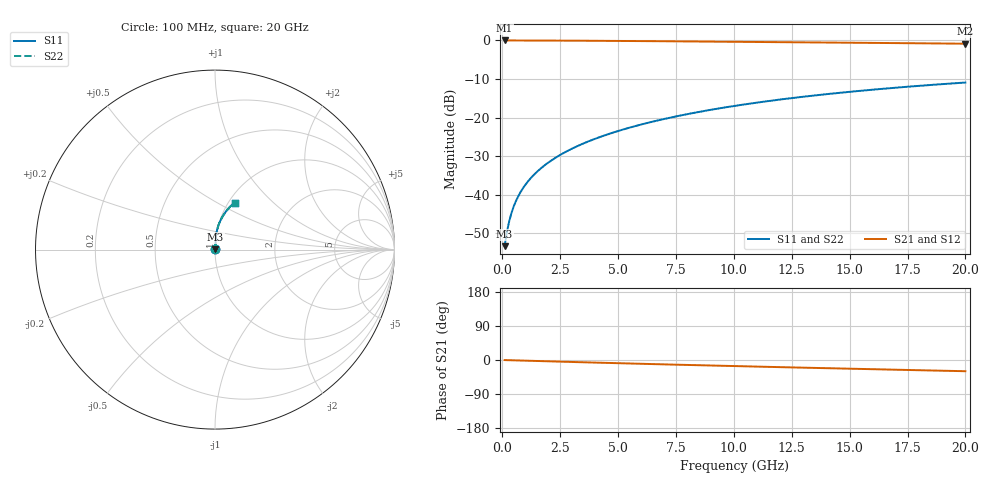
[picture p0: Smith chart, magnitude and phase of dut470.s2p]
! Touchstone file exported from HFSS 2024.1.0
!  File:  C:/UserFiles/LocalFiles/RDL_TSV_Batchsim/temp_RDL_top_470_1779677885.aedt
!  Generated:  11:00:26 AM May 25, 2026
!  Design:  RDL_top
!  Project:  temp_RDL_top_470_1779677885
!  Setup:  Setup1
!  Solution:  Sweep
! Variables:
!  dtsv = 10.80580581um
!  hbump = 3um
!  htsv = 97.65um
!  ldown = 100um
!  lrdl = 405.48um
!  p = 40
!  p1 = 50.42um
!  rhole = 1um
!  t = 450um
!  tdown = 3.915915916um
!  trdl = 4.52um
!  wdown = 15.38538539um
!  wrdl = 21.99um
# GHz S MA R 50.000000
! Terminal data exported
! Port[1] = Box2_T1
! Port[2] = Box2_T2
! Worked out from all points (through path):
!   200 points, 100 MHz to 20 GHz, reference 50 ohm
!   highest |S21| = -0.01 dB at 100 MHz (marker M1); lowest = -0.9 dB at 20 GHz (marker M2)
!   group delay of S21, straight-line fit = 4.07 ps
!   lowest |S11| = -53.4 dB at 100 MHz (marker M3), VSWR 1.00, Z = 50.2 + j0.142 ohm
!   |S11| at or under -10 dB: start of sweep to end of sweep
!   |S22| runs from -53.4 to -10.9 dB; largest |S21 - S12| = 2.7e-15
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0.1  0.002149 41.3  0.9984 -0.2  0.9984 -0.2  0.002149 41.3
! Gamma 0 0 0 0
! Port Impedance 50 0 50 0
0.2  0.003277 59.4  0.9983 -0.4  0.9983 -0.4  0.003277 59.4
0.3  0.004545 67.5  0.9981 -0.5  0.9981 -0.5  0.004545 67.5
0.4  0.005839 71.8  0.998 -0.7  0.998 -0.7  0.005838 71.8
0.5  0.007129 74.5  0.9979 -0.9  0.9979 -0.9  0.007129 74.5
0.7  0.009683 77.8  0.9977 -1.2  0.9977 -1.2  0.009683 77.8
0.8  0.01095 78.9  0.9976 -1.4  0.9976 -1.4  0.01095 78.9
1  0.01348 80.6  0.9973 -1.8  0.9973 -1.8  0.01348 80.6
1.2  0.01601 81.9  0.9971 -2.1  0.9971 -2.1  0.01601 81.9
1.4  0.01855 82.9  0.9967 -2.5  0.9967 -2.5  0.01854 82.9
1.7  0.02238 84.0  0.9961 -3.0  0.9961 -3.0  0.02237 83.9
2  0.02624 84.7  0.9955 -3.5  0.9955 -3.5  0.02624 84.7
2.7  0.03539 85.8  0.9936 -4.7  0.9936 -4.7  0.03538 85.8
3.5  0.04609 86.3  0.9908 -6.0  0.9908 -6.0  0.04609 86.3
4.2  0.05568 86.4  0.9881 -7.2  0.9881 -7.2  0.05567 86.4
5  0.06689 86.3  0.9846 -8.5  0.9846 -8.5  0.06688 86.3
6.8  0.09296 85.1  0.9761 -11.3  0.9761 -11.3  0.09294 85.1
8.4  0.1168 83.5  0.968 -13.7  0.968 -13.7  0.1168 83.5
10.1  0.1425 81.4  0.9592 -16.2  0.9592 -16.2  0.1425 81.4
13.4  0.1921 76.8  0.9419 -20.8  0.9419 -20.8  0.192 76.8
16.7  0.2397 72.0  0.9244 -25.3  0.9244 -25.3  0.2396 72.0
20  0.2844 67.3  0.9065 -29.6  0.9065 -29.6  0.2842 67.3
